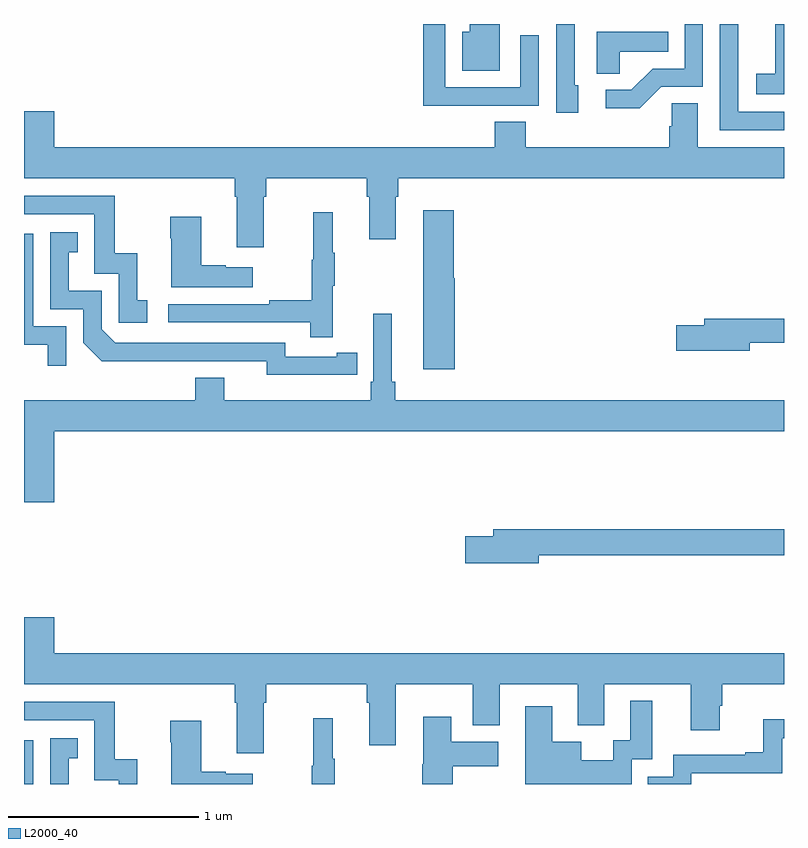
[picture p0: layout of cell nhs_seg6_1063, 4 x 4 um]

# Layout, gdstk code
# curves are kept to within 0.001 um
import gdstk
lib = gdstk.Library(unit=1e-6, precision=1e-09)
def R(c, l, rs):  # rectangles x0, y0, x1, y1
    for r in rs: c.add(gdstk.rectangle(r[:2], r[2:], *l))
def P(c, l, *ps):  # polygons
    for p in ps: c.add(gdstk.Polygon(p, *l))
L2000_40 = (2000, 40)

nhs_seg6_1063 = lib.new_cell('nhs_seg6_1063')
R(nhs_seg6_1063, L2000_40, [(177,925.5,177.048,925.731)])
P(nhs_seg6_1063, L2000_40, [(179.503,929.5),(179.345,929.5),(179.345,929.458),(179.306,929.458),(179.306,929.255),(179.503,929.255)],
  [(181,929.5),(180.954,929.5),(180.954,929.468),(180.953,929.468),(180.953,929.239),(180.855,929.239),(180.855,929.129),(181,929.129)],
  [(181,929.037),(180.759,929.037),(180.759,929.5),(180.663,929.5),(180.663,928.941),(181,928.941)],
  [(179.917,929.178),(179.898,929.178),(179.898,929.5),(179.802,929.5),(179.802,929.034),(179.917,929.034)],
  [(179.393,929.07),(179.709,929.07),(179.709,929.44),(179.613,929.44),(179.613,929.166),(179.217,929.166),(179.217,929.5),(179.101,929.5),(179.101,929.069),(179.393,929.069)],
  [(180.354,929.169),(180.573,929.169),(180.573,929.5),(180.477,929.5),(180.477,929.265),(180.308,929.265),(180.197,929.154),(180.063,929.154),(180.063,929.057),(180.241,929.057)],
  [(180.135,929.354),(180.392,929.354),(180.392,929.458),(180.014,929.458),(180.014,929.239),(180.135,929.239)],
  [(178.261,928.592),(178.274,928.592),(178.274,928.688),(178.805,928.688),(178.805,928.592),(178.817,928.592),(178.817,928.368),(178.957,928.368),(178.957,928.592),(178.97,928.592),(178.97,928.688),(181,928.688),(181,928.852),(180.547,928.852),(180.547,929.084),(180.408,929.084),(180.408,928.961),(180.395,928.961),(180.395,928.852),(179.642,928.852),(179.642,928.985),(179.477,928.985),(179.477,928.852),(177.16,928.852),(177.16,929.041),(177,929.041),(177,928.688),(178.109,928.688),(178.109,928.592),(178.121,928.592),(178.121,928.326),(178.261,928.326)],
  [(177.649,928.047),(177.596,928.047),(177.596,928.294),(177.478,928.294),(177.478,928.596),(177,928.596),(177,928.5),(177.369,928.5),(177.369,928.185),(177.498,928.185),(177.498,927.927),(177.649,927.927)],
  [(179.266,928.161),(179.261,928.161),(179.261,928.519),(179.102,928.519),(179.102,927.684),(179.266,927.684)],
  [(178.625,928.123),(178.636,928.123),(178.636,928.297),(178.625,928.297),(178.625,928.51),(178.522,928.51),(178.522,928.26),(178.515,928.26),(178.515,928.046),(178.291,928.046),(178.291,928.026),(177.759,928.026),(177.759,927.93),(178.507,927.93),(178.507,927.852),(178.625,927.852)],
  [(178.204,928.219),(178.061,928.219),(178.061,928.229),(177.934,928.229),(177.934,928.486),(177.769,928.486),(177.769,928.373),(177.776,928.373),(177.776,928.115),(178.204,928.115)],
  [(178.646,927.654),(178.754,927.654),(178.754,927.77),(178.646,927.77),(178.646,927.75),(178.374,927.75),(178.374,927.822),(177.48,927.822),(177.408,927.894),(177.408,928.095),(177.235,928.095),(177.235,928.299),(177.284,928.299),(177.284,928.405),(177.138,928.405),(177.138,927.999),(177.312,927.999),(177.312,927.822),(177.41,927.725),(178.278,927.726),(178.278,927.653)],
  [(177.222,927.909),(177.048,927.909),(177.048,928.395),(177,928.395),(177,927.813),(177.125,927.813),(177.125,927.702),(177.222,927.702)],
  [(177.16,927.356),(181,927.356),(181,927.52),(178.955,927.52),(178.955,927.616),(178.936,927.616),(178.936,927.976),(178.839,927.976),(178.839,927.616),(178.826,927.616),(178.826,927.52),(178.054,927.52),(178.054,927.637),(177.902,927.637),(177.902,927.52),(177,927.52),(177,926.982),(177.16,926.982)],
  [(180.82,927.822),(181,927.822),(181,927.95),(180.581,927.95),(180.581,927.914),(180.432,927.914),(180.432,927.779),(180.82,927.779)],
  [(179.71,926.704),(181,926.704),(181,926.84),(179.471,926.84),(179.471,926.804),(179.322,926.804),(179.322,926.662),(179.71,926.662)],
  [(178.261,925.928),(178.274,925.928),(178.274,926.024),(178.805,926.024),(178.805,925.928),(178.817,925.928),(178.817,925.704),(178.957,925.704),(178.957,926.024),(179.363,926.024),(179.363,925.808),(179.503,925.808),(179.503,926.024),(179.915,926.024),(179.915,925.808),(180.055,925.808),(180.055,926.024),(180.509,926.024),(180.509,925.782),(180.661,925.782),(180.661,925.911),(180.674,925.911),(180.674,926.024),(181,926.024),(181,926.188),(177.16,926.188),(177.16,926.377),(177,926.377),(177,926.024),(178.109,926.024),(178.109,925.928),(178.121,925.928),(178.121,925.662),(178.261,925.662)],
  [(180.198,925.629),(180.307,925.629),(180.307,925.939),(180.191,925.939),(180.191,925.73),(180.101,925.73),(180.101,925.624),(179.932,925.624),(179.932,925.723),(179.779,925.723),(179.779,925.909),(179.639,925.909),(179.639,925.5),(180.198,925.5)],
  [(177.596,925.63),(177.478,925.63),(177.478,925.932),(177,925.932),(177,925.836),(177.369,925.836),(177.369,925.521),(177.498,925.521),(177.498,925.5),(177.596,925.5)],
  [(179.256,925.594),(179.497,925.594),(179.497,925.723),(179.248,925.723),(179.248,925.855),(179.102,925.855),(179.102,925.605),(179.095,925.605),(179.095,925.5),(179.256,925.5)],
  [(178.636,925.633),(178.625,925.633),(178.625,925.846),(178.522,925.846),(178.522,925.596),(178.515,925.596),(178.515,925.5),(178.636,925.5)],
  [(180.513,925.557),(180.99,925.557),(180.99,925.742),(181,925.742),(181,925.841),(180.892,925.841),(180.892,925.666),(180.797,925.666),(180.797,925.653),(180.417,925.653),(180.417,925.539),(180.283,925.539),(180.283,925.5),(180.513,925.5)],
  [(178.204,925.555),(178.061,925.555),(178.061,925.565),(177.934,925.565),(177.934,925.834),(177.769,925.834),(177.769,925.721),(177.776,925.721),(177.776,925.5),(178.204,925.5)],
  [(177.235,925.635),(177.284,925.635),(177.284,925.741),(177.138,925.741),(177.138,925.5),(177.235,925.5)])

lib.write_gds('nhs_seg6_1063.gds')
